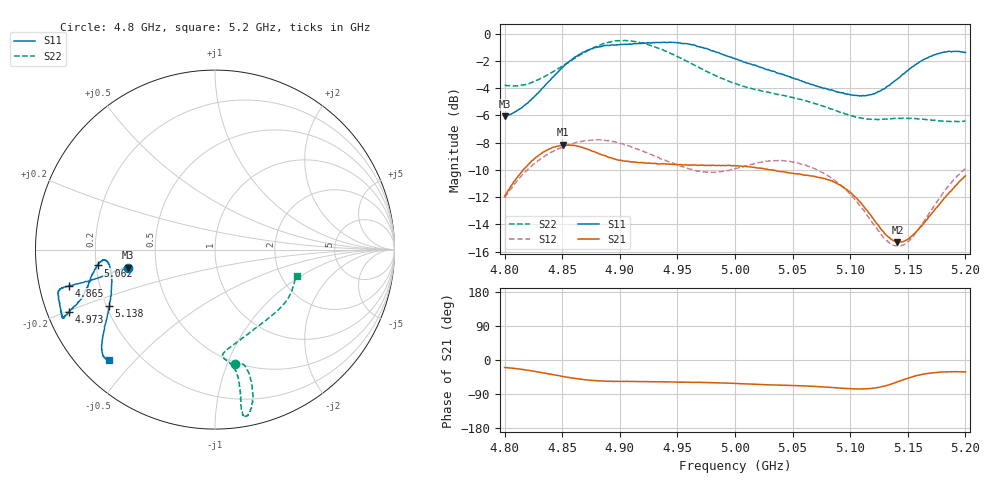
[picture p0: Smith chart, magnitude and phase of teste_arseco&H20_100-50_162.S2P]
! Network Analyzer HP8722D
! Hewlett-Packard
! Data name: Linha & Wilkinson
! Saver's name: Rodrigo Anjos
! Comments: Teste da utilização de aquisição
! continua pelo VNA HP8722D
! Time and date: 6/5/2025 13:55
!  Frequency  S11  S21  S12  S22
# HZ  S  MA R 50
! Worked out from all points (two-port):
!   401 points, 4.8 GHz to 5.2 GHz, reference 50 ohm
!   highest |S21| = -8.15 dB at 4.851 GHz (marker M1); lowest = -15.3 dB at 5.141 GHz (marker M2)
!   |S21| within 3 dB of the highest: 4.806 GHz to 5.092 GHz (286.2 MHz wide, 5.78 % of centre); 5.191615 GHz to end of sweep
!   lowest |S11| = -6.1 dB at 4.8 GHz (marker M3), VSWR 2.98, Z = 17 - j4.54 ohm
!   |S11| at or under -10 dB: nowhere
!   |S22| runs from -6.5 to -0.5 dB; largest |S21 - S12| = 0.62
!   S11 on the Smith chart (normalised r, x): 4.8 GHz: 0.34, -0.09; 4.865 GHz: 0.09, -0.12; 4.973 GHz: 0.06, -0.20; 5.062 GHz: 0.21, -0.06; 5.138 GHz: 0.21, -0.24; 5.2 GHz: 0.09, -0.42
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4.8e9  0.4971 -168.3  0.2533 -19.8  0.2497 -141.1  0.6478 -80.3
4.823e9  0.572 -167.6  0.3389 -28.4  0.325 -144.0  0.6614 -76.0
4.851e9  0.757 -166.0  0.3913 -43.5  0.3845 -149.5  0.7664 -74.6
4.865e9  0.8399 -166.2  0.3851 -50.1  0.401 -151.9  0.834 -75.3
4.867e9  0.8489 -166.0  0.3832 -51.1  0.4025 -152.2  0.8436 -75.5
4.898e9  0.9108 -163.1  0.3448 -56.4  0.398 -156.6  0.9427 -79.0
4.934e9  0.9283 -156.6  0.3324 -57.6  0.3509 -155.9  0.8831 -80.5
4.951e9  0.9252 -155.7  0.3305 -58.3  0.3288 -152.7  0.8208 -80.0
4.973e9  0.8857 -156.8  0.3287 -59.6  0.3106 -146.0  0.7366 -79.8
5e9  0.8093 -159.1  0.3275 -62.0  0.3194 -137.4  0.6562 -81.4
5.04e9  0.7112 -166.8  0.3117 -66.4  0.3414 -134.7  0.5951 -85.9
5.062e9  0.6588 -172.3  0.3024 -68.6  0.3282 -136.5  0.5665 -83.8
5.067e9  0.651 -173.1  0.3008 -69.3  0.3224 -136.9  0.5579 -82.6
5.083e9  0.6219 -174.7  0.2888 -72.5  0.2966 -138.3  0.5299 -76.7
5.101e9  0.597 -172.2  0.2601 -76.0  0.2548 -138.9  0.5006 -66.5
5.115e9  0.5947 -166.1  0.2236 -75.9  0.2144 -136.0  0.4868 -56.5
5.134e9  0.6467 -154.3  0.1784 -65.2  0.1704 -120.6  0.4871 -43.2
5.138e9  0.6683 -151.9  0.1736 -61.0  0.1668 -115.4  0.4881 -40.8
5.141e9  0.6831 -150.2  0.1715 -57.6  0.166 -111.5  0.4882 -39.0
5.153e9  0.7507 -145.1  0.1802 -45.3  0.177 -96.1  0.4894 -32.6
5.174e9  0.8395 -138.6  0.2277 -33.0  0.2373 -80.6  0.4809 -23.9
5.2e9  0.8528 -133.9  0.3007 -31.5  0.3197 -77.0  0.4786 -17.6
